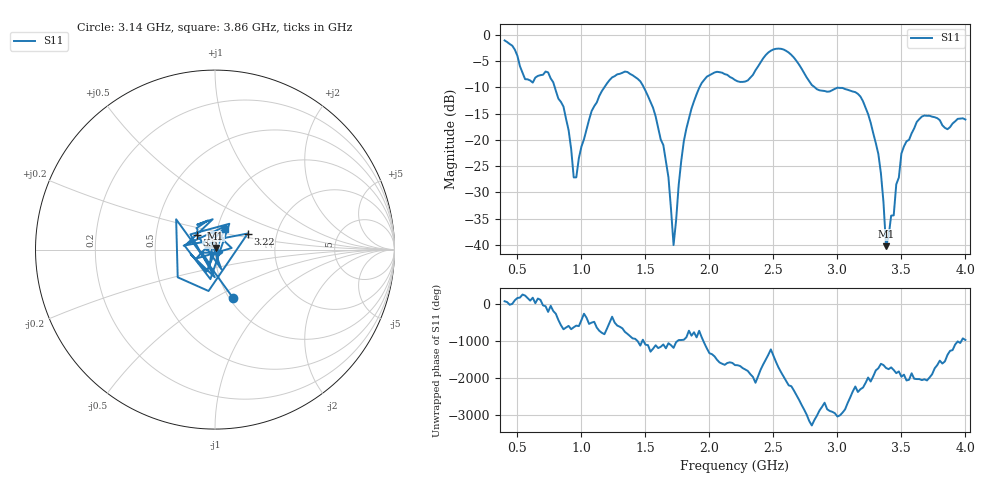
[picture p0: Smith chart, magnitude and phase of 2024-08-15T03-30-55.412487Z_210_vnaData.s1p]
!Created with skrf (http://scikit-rf.org).
# Hz S RI R 50.0
!freq ReS11 ImS11
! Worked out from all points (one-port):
!   181 points, 400 MHz to 4 GHz, reference 50 ohm
!   lowest |S11| = -40.2 dB at 3.38 GHz (marker M1), VSWR 1.02, Z = 50.3 + j0.927 ohm
!   |S11| at or under -10 dB: 792.2 MHz to 1.179 GHz (386.9 MHz wide, 39.2 % of centre); 1.487 GHz to 1.922 GHz (435 MHz wide, 25.5 % of centre); 2.824 GHz to end of sweep
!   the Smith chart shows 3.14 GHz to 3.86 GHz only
!   S11 on the Smith chart (normalised r, x): 3.14 GHz: 1.04, -0.61; 3.22 GHz: 1.42, +0.26; 3.6 GHz: 0.81, +0.14; 3.86 GHz: 1.09, +0.25
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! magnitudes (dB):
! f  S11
! 400 MHz  -1.1
! 560 MHz  -8.4
! 740 MHz  -7.1
! 860 MHz  -13.7
! 960 MHz  -27.1
! 1.08 GHz  -14.5
! 1.3 GHz  -7.4
! 1.56 GHz  -13.9
! 1.68 GHz  -27.1
! 1.72 GHz  -40.0
! 1.76 GHz  -28.6
! 1.82 GHz  -17.8
! 1.94 GHz  -9.2
! 2.2 GHz  -8.6
! 2.5 GHz  -2.8
! 2.66 GHz  -4.3
! 2.84 GHz  -10.3
! 3.1 GHz  -10.6
! 3.14 GHz  -10.9
! 3.22 GHz  -13.8
! 3.32 GHz  -22.7
! 3.38 GHz  -40.2
! 3.44 GHz  -34.4
! 3.5 GHz  -22.6
! 3.56 GHz  -20.0
! 3.6 GHz  -17.8
! 3.86 GHz  -18.0
! 4 GHz  -16.1
